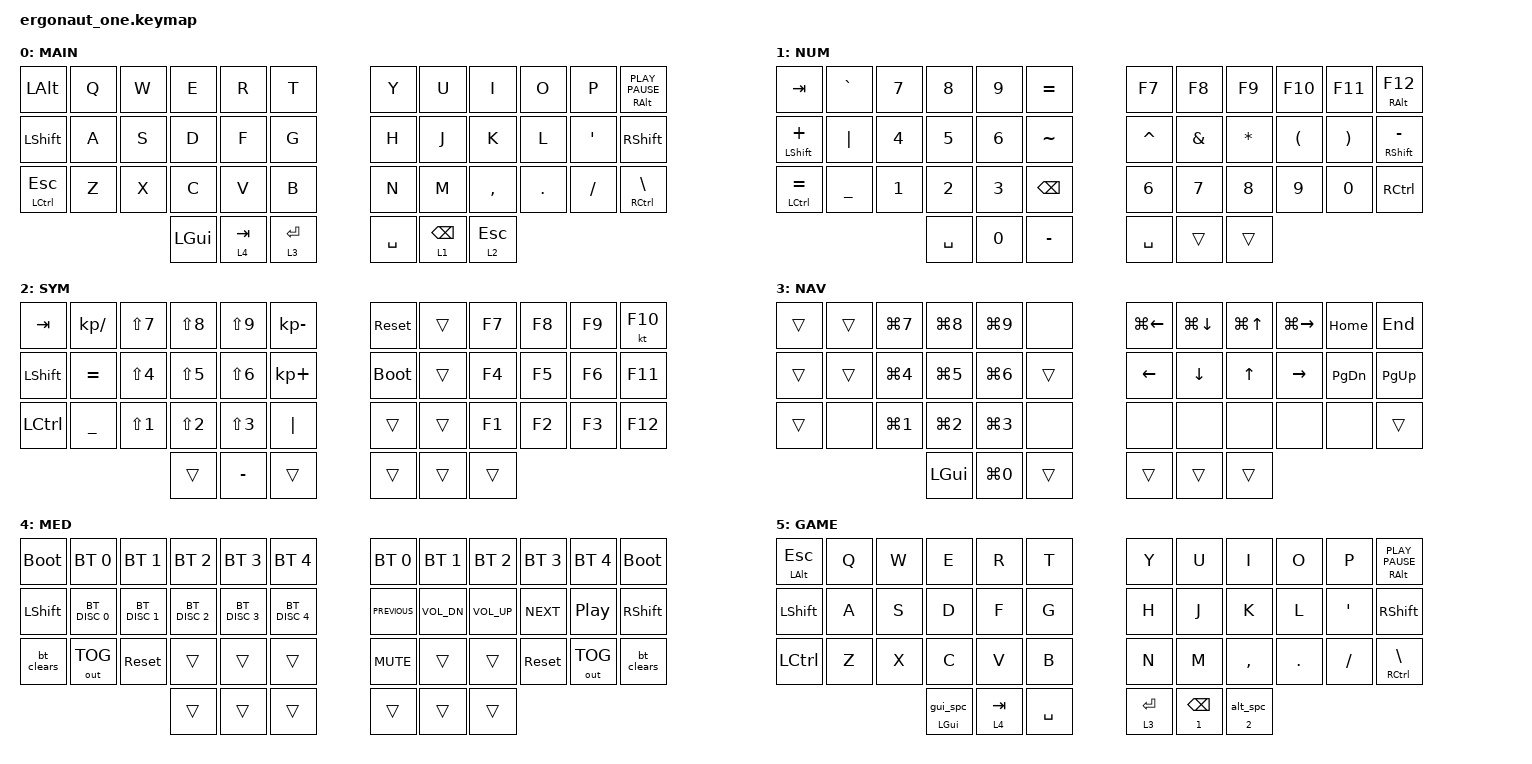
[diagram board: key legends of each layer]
#include <behaviors.dtsi>
#include <dt-bindings/zmk/bt.h>
#include <dt-bindings/zmk/keys.h>
#include <dt-bindings/zmk/outputs.h>

#define DEF 0
#define LWR 1
#define RSE 2
#define ADJ 3

&lt {
    quick-tap-ms = <200>;
    flavor = "balanced";
};

&mt {
    quick-tap-ms = <200>;
    flavor = "balanced";
};

&caps_word {
};

/ {
    conditional_layers { compatible = "zmk,conditional-layers"; };

    combos {
        compatible = "zmk,combos";

        jk_RPar {
            bindings = <&kp RIGHT_PARENTHESIS>;
            key-positions = <19 20>;
            layers = <0>;
        };

        kl_RBkt {
            bindings = <&kp RIGHT_BRACKET>;
            key-positions = <20 21>;
            layers = <0>;
        };

        lquot_RBrc {
            bindings = <&kp RIGHT_BRACE>;
            key-positions = <21 22>;
            layers = <0>;
        };

        df_LPar {
            bindings = <&kp LEFT_PARENTHESIS>;
            key-positions = <16 15>;
            layers = <0>;
        };

        sd_LBkt {
            bindings = <&kp LEFT_BRACKET>;
            key-positions = <14 15>;
            layers = <0>;
        };

        as_LBrc {
            bindings = <&kp LEFT_BRACE>;
            key-positions = <13 14>;
            layers = <0>;
        };

        capsWord {
            bindings = <&caps_word>;
            key-positions = <12 23>;
            layers = <0>;
        };

        game_mode {
            bindings = <&tog 5>;
            key-positions = <38 39>;
            layers = <0 5>;
        };

        mcomm_colon {
            bindings = <&kp COLON>;
            key-positions = <32 31>;
        };

        commdot_semi {
            bindings = <&kp SEMI>;
            key-positions = <32 33>;
        };
    };

    behaviors {
        shift_del: shift_del {
            compatible = "zmk,behavior-mod-morph";
            label = "SHIFT_DEL";
            bindings = <&kp BACKSPACE>, <&kp DELETE>;

            #binding-cells = <0>;
            mods = <(MOD_LSFT|MOD_RSFT)>;
        };

        bksp_num: bksp_num {
            compatible = "zmk,behavior-hold-tap";
            label = "BKSP_NUM";
            bindings = <&lt>, <&kp>;

            #binding-cells = <2>;
            hold-trigger-key-positions = <40>;
            flavor = "hold-preferred";
            tapping-term-ms = <100>;
            quick-tap-ms = <100>;
        };

        gui_spc_ht: gui_spc_ht {
            compatible = "zmk,behavior-hold-tap";
            label = "GUI_SPC_HT";
            bindings = <&kp>, <&gui_spc>;

            #binding-cells = <2>;
            tapping-term-ms = <100>;
            hold-trigger-key-positions = <36>;
        };

        sym_alt_spc: sym_alt_spc {
            compatible = "zmk,behavior-hold-tap";
            label = "SYM_ALT_SPC";
            bindings = <&lt>, <&alt_spc>;

            #binding-cells = <2>;
            tapping-term-ms = <100>;
            hold-trigger-key-positions = <41>;
        };

        bt_clears: bt_clears {
            compatible = "zmk,behavior-mod-morph";
            label = "BT_CLEARS";
            bindings = <&bt BT_CLR>, <&bt BT_CLR_ALL>;

            #binding-cells = <0>;
            mods = <(MOD_LSFT|MOD_RSFT)>;
        };
    };

    macros {
        gui_spc: gui_spc {
            compatible = "zmk,behavior-macro";
            #binding-cells = <0>;
            bindings = <&kp LG(SPACE)>;
            label = "GUI_SPC";
        };

        alt_spc: alt_spc {
            compatible = "zmk,behavior-macro";
            #binding-cells = <0>;
            bindings = <&kp LA(SPACE)>;
            label = "ALT_SPC";
        };
    };

    keymap {
        compatible = "zmk,keymap";

        default_layer {
            display-name = "MAIN";
            bindings = <
&kp LEFT_ALT      &kp Q  &kp W  &kp E         &kp R      &kp T      &kp Y      &kp U            &kp I         &kp O    &kp P     &mt RIGHT_ALT K_PLAY_PAUSE
&kp LSHIFT        &kp A  &kp S  &kp D         &kp F      &kp G      &kp H      &kp J            &kp K         &kp L    &kp SQT   &kp RSHIFT
&mt LCTRL ESCAPE  &kp Z  &kp X  &kp C         &kp V      &kp B      &kp N      &kp M            &kp COMMA     &kp DOT  &kp FSLH  &mt RCTRL BACKSLASH
                                &kp LEFT_GUI  &lt 4 TAB  &lt 3 RET  &kp SPACE  &lt 1 BACKSPACE  &lt 2 ESCAPE
            >;
        };

        number_layer {
            display-name = "NUM";
            bindings = <
&kp TAB                 &kp GRAVE       &kp N7        &kp N8        &kp N9        &kp EQUAL      &kp F7     &kp F8    &kp F9    &kp F10   &kp F11   &mt RIGHT_ALT F12
&mt LSHFT PLUS          &kp PIPE        &kp NUMBER_4  &kp N5        &kp NUMBER_6  &kp TILDE      &kp CARET  &kp AMPS  &kp STAR  &kp LPAR  &kp RPAR  &mt RIGHT_SHIFT MINUS
&mt LEFT_CONTROL EQUAL  &kp UNDERSCORE  &kp NUMBER_1  &kp NUMBER_2  &kp NUMBER_3  &kp BACKSPACE  &kp N6     &kp N7    &kp N8    &kp N9    &kp N0    &kp RIGHT_CONTROL
                                                      &kp SPACE     &kp N0        &kp MINUS      &kp SPACE  &trans    &trans
            >;
        };

        sym_layer {
            display-name = "SYM";
            bindings = <
&kp TAB         &kp KP_SLASH  &kp LS(N7)        &kp LS(N8)        &kp LS(N9)        &kp KP_MINUS  &sys_reset   &trans  &kp F7  &kp F8  &kp F9  &kt F10
&kp LEFT_SHIFT  &kp EQUAL     &kp LS(NUMBER_4)  &kp LS(N5)        &kp LS(NUMBER_6)  &kp KP_PLUS   &bootloader  &trans  &kp F4  &kp F5  &kp F6  &kp F11
&kp LCTRL       &kp UNDER     &kp LS(N1)        &kp LS(NUMBER_2)  &kp LS(NUMBER_3)  &kp PIPE      &trans       &trans  &kp F1  &kp F2  &kp F3  &kp F12
                                                &trans            &kp MINUS         &trans        &trans       &trans  &trans
            >;
        };

        nav_layer {
            display-name = "NAV";
            bindings = <
&trans  &trans  &kp LG(N7)        &kp LG(N8)        &kp LG(N9)        &none   &kp LG(LEFT_ARROW)  &kp LG(DOWN)  &kp LG(UP_ARROW)  &kp LG(RIGHT)  &kp HOME       &kp END
&trans  &trans  &kp LG(NUMBER_4)  &kp LG(N5)        &kp LG(NUMBER_6)  &trans  &kp LEFT_ARROW      &kp DOWN      &kp UP_ARROW      &kp RIGHT      &kp PAGE_DOWN  &kp PAGE_UP
&trans  &none   &kp LG(NUMBER_1)  &kp LG(NUMBER_2)  &kp LG(NUMBER_3)  &none   &none               &none         &none             &none          &none          &trans
                                  &kp LEFT_GUI      &kp LG(N0)        &trans  &trans              &trans        &trans
            >;
        };

        media_layer {
            bindings = <
&bootloader     &bt BT_SEL 0   &bt BT_SEL 1   &bt BT_SEL 2   &bt BT_SEL 3   &bt BT_SEL 4   &bt BT_SEL 0    &bt BT_SEL 1  &bt BT_SEL 2     &bt BT_SEL 3  &bt BT_SEL 4      &bootloader
&kp LEFT_SHIFT  &bt BT_DISC 0  &bt BT_DISC 1  &bt BT_DISC 2  &bt BT_DISC 3  &bt BT_DISC 4  &kp C_PREVIOUS  &kp C_VOL_DN  &kp C_VOLUME_UP  &kp C_NEXT    &kp C_PLAY_PAUSE  &kp RIGHT_SHIFT
&bt_clears      &out OUT_TOG   &sys_reset     &trans         &trans         &trans         &kp K_MUTE      &trans        &trans           &sys_reset    &out OUT_TOG      &bt_clears
                                              &trans         &trans         &trans         &trans          &trans        &trans
            >;

            label = "MED";
        };

        game_layer {
            display-name = "GAME";
            bindings = <
&mt LEFT_ALT ESCAPE  &kp Q  &kp W  &kp E                   &kp R      &kp T      &kp Y        &kp U                  &kp I             &kp O    &kp P     &mt RIGHT_ALT K_PLAY_PAUSE
&kp LSHIFT           &kp A  &kp S  &kp D                   &kp F      &kp G      &kp H        &kp J                  &kp K             &kp L    &kp SQT   &kp RSHIFT
&kp LCTRL            &kp Z  &kp X  &kp C                   &kp V      &kp B      &kp N        &kp M                  &kp COMMA         &kp DOT  &kp FSLH  &mt RCTRL BACKSLASH
                                   &gui_spc_ht LEFT_GUI 0  &lt 4 TAB  &kp SPACE  &lt 3 ENTER  &bksp_num 1 BACKSPACE  &sym_alt_spc 2 0
            >;
        };
    };
};
